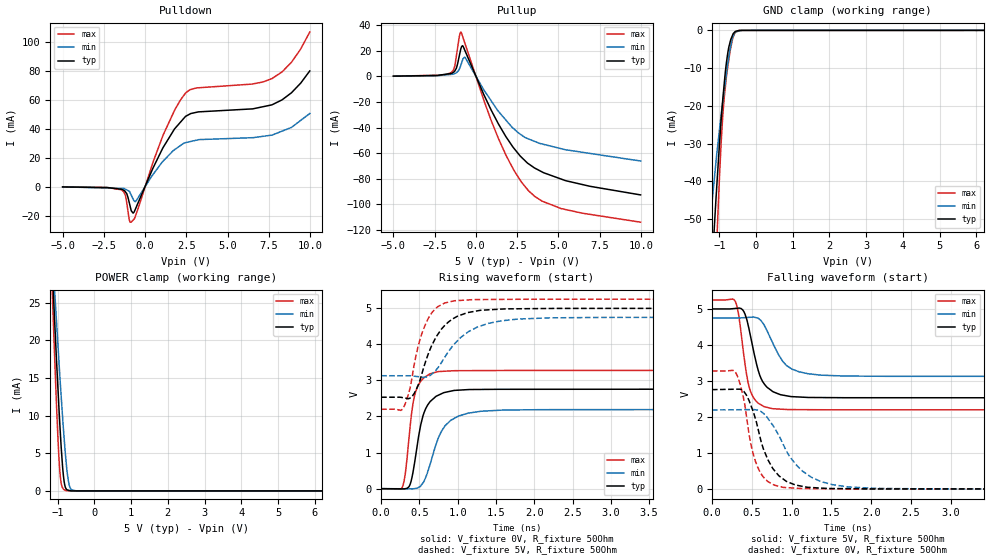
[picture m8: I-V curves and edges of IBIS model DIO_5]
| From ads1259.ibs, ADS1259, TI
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|   Input/Output DIO model 5V
[Model]   DIO_5
Model_type   I/O
|Signals   START, CLKOUT
| variable   typ   min   max
|C_comp Output average
C_comp   4.18E-12   5.14E-12   3.29E-12
|C_comp Output Low
|C_comp   4.40E-12   5.37E-12   3.55E-12
|C_comp Output High
|C_comp   6.50E-12   6.28E-12   7.66E-12
Vinl = 1.000V
Vinh = 4.000V
Vmeas = 1.500V
Cref = 0.000F
[Voltage Range]   5.000V   4.750V   5.250V
[Temperature Range]   27.0   105.0   -40.0
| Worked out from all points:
|   slope of the pulldown table from 0 to 0.75 V, typ, clamps not added: 39.3 ohm
|   slope of the pullup table from 0 to 0.75 V, typ, clamps not added: 34.4 ohm
|   GND clamp passes 1 mA (typ) near -0.63 V on its own axis
|   POWER clamp passes 1 mA (typ) near -0.81 V on its own axis
|   falling waveform, V_fixture 5V, R_fixture 50Ohm: 20-80 % time 168ps typ, 242ps min, 122ps max; typ from 5 V to 2.53 V
|   rising waveform, V_fixture 0V, R_fixture 50Ohm: 20-80 % time 156ps typ, 238ps min, 114ps max; typ from 0 V to 2.76 V
|   rising waveform, V_fixture 5V, R_fixture 50Ohm: 20-80 % time 314ps typ, 436ps min, 218ps max; typ from 2.53 V to 5 V
|   falling waveform, V_fixture 0V, R_fixture 50Ohm: 20-80 % time 263ps typ, 408ps min, 179ps max; typ from 2.76 V to 0 V
[Pulldown]
|   Voltage   I(typ)   I(min)   I(max)
-5V       -197.8uA   -151.9uA   -197.1uA
-1.436V   -1.798mA   -1.193mA   -2.174mA
-1.204V   -3.389mA   -1.701mA   -5.722mA
-963.2mV  -10.94mA   -3.114mA   -22.75mA
-848.7mV  -16.31mA   -5.657mA   -24.64mA
-727.4mV  -18.32mA   -8.611mA   -23.2mA
-554.4mV  -14.67mA   -10.06mA   -19.33mA
1.096V    27.22mA    17.73mA    35.87mA
2.463V    48.79mA    30.53mA    65.04mA
7.68V     56.69mA    35.71mA    74.87mA
8.869V    65.04mA    41.04mA    86.17mA
9.985V    80.24mA    50.73mA    107.2mA
[GND Clamp]
|   Voltage   I(typ)   I(min)   I(max)
-5V       -851.8mA   -594.4mA   -1.188A
-1.244V   -71.11mA   -50.78mA   -102.4mA
-1.137V   -52.61mA   -39.59mA   -73.64mA
-1.07V    -41.61mA   -32.89mA   -56.61mA
-1.006V   -31.78mA   -27.33mA   -41.46mA
-947.5mV  -23.63mA   -22.27mA   -29.55mA
-862.5mV  -13.91mA   -15.84mA   -17.55mA
-805.3mV  -8.556mA   -11.55mA   -12.38mA
-735.1mV  -4.254mA   -6.737mA   -7.477mA
-635.1mV  -1.206mA   -1.889mA   -2.175mA
-560.5mV  -269.6uA   -436.6uA   -538.1uA
9.985V    0A         0A         0A
[Pullup]
|   Voltage   I(typ)   I(min)   I(max)
-5V       265.1uA    223.2uA    280.9uA
-1.513V   2.329mA    1.618mA    2.952mA
-1.282V   4.277mA    2.316mA    8.082mA
-1.016V   15.63mA    5.5mA      30.69mA
-908.6mV  21.92mA    9.076mA    34.81mA
-805.3mV  24.05mA    13mA       31.43mA
-643.6mV  19.68mA    14.68mA    25.14mA
1.378V    -37.48mA   -27.54mA   -49.02mA
2.304V    -56.29mA   -41.05mA   -73.54mA
3.182V    -68.39mA   -48.93mA   -89.48mA
5.166V    -80.41mA   -56.62mA   -103.6mA
9.985V    -92.85mA   -66.28mA   -114.2mA
[POWER Clamp]
|   Voltage   I(typ)   I(min)   I(max)
-5V       473.5mA    377.7mA    609.1mA
-1.14V    28.68mA    31.48mA    25.65mA
-1.112V   25.85mA    29.21mA    21.87mA
-1.056V   19.95mA    24.49mA    14.5mA
-996.5mV  14.11mA    19.79mA    7.562mA
-947.5mV  9.521mA    15.89mA    3.136mA
-908.6mV  6.249mA    12.98mA    1.171mA
-857.6mV  2.792mA    9.266mA    360.9uA
-780.2mV  388uA      4.449mA    59.7uA
-677.1mV  55.84uA    662.7uA    4.584uA
-496.8mV  4.105uA    3.597uA    4.507uA
9.985V    0A         0A         0A
[Ramp]
R_load = 50
|   typ   min   max
dV/dt_r   1.65662/1.56199e-10   1.31851/2.37271e-10   1.96737/1.13296e-10
dV/dt_f   1.48099/1.67107e-10   0.973942/2.4085e-10   1.83103/1.21703e-10
[Falling Waveform]
V_fixture = 5V
V_fixture_min = 4.75V
V_fixture_max = 5.25V
R_fixture = 50Ohm
C_fixture = 0F
|   Time   V(typ)   V(min)   V(max)
0s        5V         4.75V      5.25V
291.6ps   5.013V     4.75V      5.217V
388.6ps   4.968V     4.756V     3.93V
453.8ps   4.56V      4.765V     2.961V
501.3ps   4.067V     4.771V     2.624V
614.8ps   3.082V     4.681V     2.341V
756.4ps   2.721V     4.091V     2.235V
937.1ps   2.59V      3.43V      2.211V
1.373ns   2.542V     3.163V     2.203V
10.14ns   2.532V     3.127V     2.198V
[Rising Waveform]
V_fixture = 0V
V_fixture_min = 0V
V_fixture_max = 0V
R_fixture = 50Ohm
C_fixture = 0F
|   Time   V(typ)   V(min)   V(max)
0s        -1.634uV   -1.374uV   -251.5nV
275.5ps   -5.901mV   -3.287mV   32.96mV
365.8ps   59.95mV    -4.364mV   1.431V
422.9ps   529.8mV    -3.324mV   2.43V
472.4ps   1.201V     15.18mV    2.804V
563.5ps   2.118V     220.9mV    3.077V
740.8ps   2.581V     1.364V     3.24V
1.008ns   2.727V     2.007V     3.267V
1.595ns   2.751V     2.177V     3.272V
10.14ns   2.761V     2.198V     3.279V
[Rising Waveform]
V_fixture = 5V
V_fixture_min = 4.75V
V_fixture_max = 5.25V
R_fixture = 50Ohm
C_fixture = 0F
|   Time   V(typ)   V(min)   V(max)
0s        2.532V     3.127V     2.198V
282.3ps   2.52V      3.126V     2.206V
403.2ps   2.547V     3.12V      3.07V
497.6ps   2.94V      3.098V     4.053V
625.8ps   3.785V     3.118V     4.751V
784.2ps   4.407V     3.479V     5.089V
950.8ps   4.719V     3.992V     5.201V
1.398ns   4.952V     4.575V     5.238V
2.181ns   4.989V     4.729V     5.245V
10.14ns   5V         4.75V      5.25V
[Falling Waveform]
|Gnd
V_fixture = 0V
V_fixture_min = 0V
V_fixture_max = 0V
R_fixture = 50Ohm
C_fixture = 0F
|   Time   V(typ)   V(min)   V(max)
0s        2.761V     2.198V     3.279V
280.9ps   2.772V     2.203V     3.281V
400.5ps   2.713V     2.205V     2.488V
486.2ps   2.342V     2.207V     1.275V
572.7ps   1.732V     2.195V     618.8mV
703.6ps   813.9mV    1.962V     209.7mV
898.9ps   274.9mV    1.224V     49.54mV
1.248ns   45.7mV     330.1mV    15.85mV
1.728ns   13.34mV    59.21mV    5.921mV
10.14ns   -1.634uV   -1.374uV   -251.5nV
